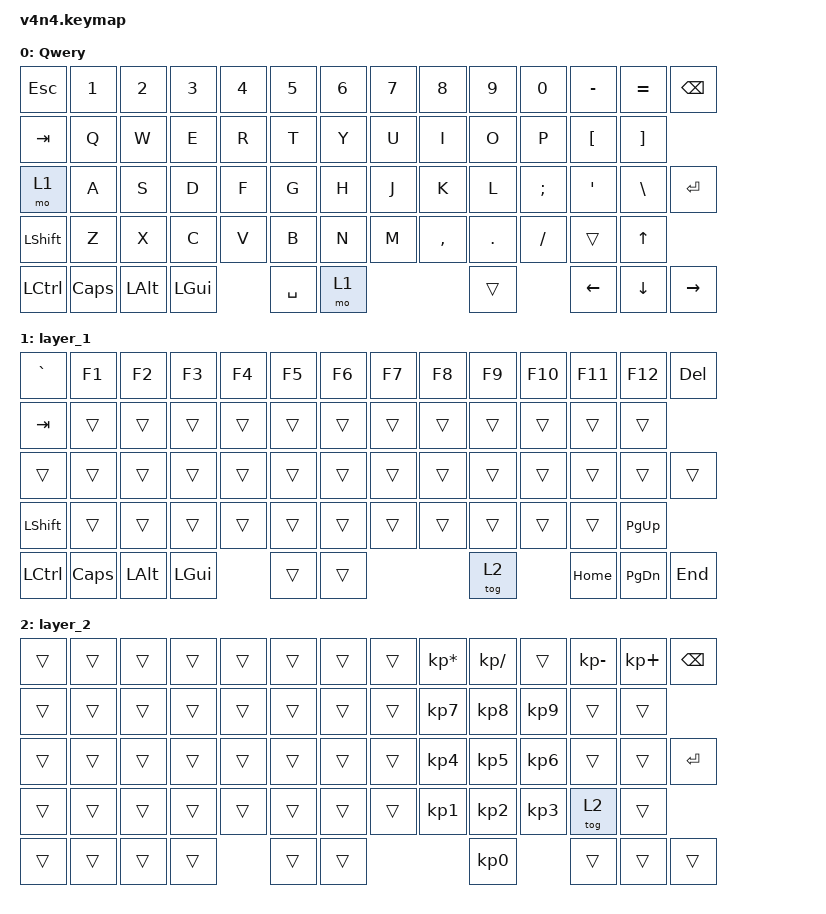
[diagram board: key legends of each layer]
/*
 * Copyright (c) 2021 The ZMK Contributors
 *
 * SPDX-License-Identifier: MIT
 */

#include <behaviors/mouse_keys.dtsi>
#include <behaviors.dtsi>
#include <dt-bindings/zmk/bt.h>
#include <dt-bindings/zmk/ext_power.h>
#include <dt-bindings/zmk/keys.h>
#include <dt-bindings/zmk/rgb.h>

/ {
  /*  behaviors {
        hm: homerow_mods {
            compatible = "zmk,behavior-hold-tap";
            label = "HOMEROW_MODS";
            bindings = <&kp>, <&kp>;

            #binding-cells = <2>;
            tapping-term-ms = <200>;
            quick-tap-ms = <180>;
            flavor = "tap-preferred";
        };

        ltq: ltq {
            compatible = "zmk,behavior-hold-tap";
            label = "LTQ";
            bindings = <&mo>, <&kp>;

            #binding-cells = <2>;
            tapping-term-ms = <200>;
            quick-tap-ms = <180>;
        };

        as: auto_shift {
            compatible = "zmk,behavior-hold-tap";
            label = "AUTO_SHIFT";
            bindings = <&kp>, <&kp>;

            #binding-cells = <2>;
            tapping-term-ms = <135>;
            quick-tap-ms = <0>;
        };
    }; */

    behaviors {
        pwrbtn: pwrbtn {
            compatible = "zmk,behavior-hold-tap";
            #binding-cells = <2>;
            flavor = "hold-preferred";
            tapping-term-ms = <2000>;
            bindings = <&soft_off>, <&trans>;
        };
    };

    combos {
        compatible = "zmk,combos";

        bkt {
            bindings = <&kp LEFT_BRACKET>;
            key-positions = <21 22>;
        };

        rbkt {
            bindings = <&kp RIGHT_BRACKET>;
            key-positions = <22 23>;
        };

        /*  - = */
        minus {
            bindings = <&kp MINUS>;
            key-positions = <30 31>;
        };
        equal {
            bindings = <&kp EQUAL>;
            key-positions = <31 32>;
        };

        semi {
            bindings = <&kp SEMICOLON>;
            key-positions = <34 35>;
        };

        sqt {
            bindings = <&kp SINGLE_QUOTE>;
            key-positions = <35 36>;
        };

        comma {
            bindings = <&kp COMMA>;
            key-positions = <34 47>;
        };
        dot {
            bindings = <&kp PERIOD>;
            key-positions = <34 48>;
        };
        fslh {
            bindings = <&kp SLASH>;
            key-positions = <47 48>;
        };

        blsh {
            bindings = <&kp BSLH>;
            key-positions = <21 23>;
        };
    };

    keymap {
        compatible = "zmk,keymap";

        Qwery {

            bindings = <
&kp ESC       &kp NUMBER_1  &kp NUMBER_2  &kp NUMBER_3  &kp NUMBER_4  &kp NUMBER_5  &kp NUMBER_6  &kp NUMBER_7  &kp NUMBER_8  &kp NUMBER_9  &kp NUMBER_0  &kp MINUS          &kp EQUAL           &kp BACKSPACE
&kp TAB       &kp Q         &kp W         &kp E         &kp R         &kp T         &kp Y         &kp U         &kp I         &kp O         &kp P         &kp LEFT_BRACKET   &kp RIGHT_BRACKET
&mo 1         &kp A         &kp S         &kp D         &kp F         &kp G         &kp H         &kp J         &kp K         &kp L         &kp SEMI      &kp SINGLE_QUOTE   &kp BACKSLASH       &kp ENTER
&kp LSHIFT    &kp Z         &kp X         &kp C         &kp V         &kp B         &kp N         &kp M         &kp COMMA     &kp PERIOD    &kp SLASH     &trans             &kp UP
&kp LCTRL     &kp CAPSLOCK  &kp LALT      &kp LEFT_GUI                &kp SPACE     &mo 1                                     &trans                      &kp LEFT           &kp DOWN            &kp RIGHT
            >;

            label = "Qwery";
        };

        layer_1 {
            bindings = <
&kp GRAVE     &kp F1        &kp F2        &kp F3        &kp F4        &kp F5        &kp F6        &kp F7        &kp F8        &kp F9         &kp F10      &kp F11    &kp F12        &kp DELETE
&kp TAB       &trans        &trans        &trans        &trans        &trans        &trans        &trans        &trans        &trans         &trans       &trans     &trans
&trans        &trans        &trans        &trans        &trans        &trans        &trans        &trans        &trans        &trans         &trans       &trans     &trans         &trans
&kp LSHIFT    &trans        &trans        &trans        &trans        &trans        &trans        &trans        &trans        &trans         &trans       &trans     &kp PAGE_UP
&kp LCTRL     &kp CAPSLOCK  &kp LALT      &kp LEFT_GUI                &trans        &trans                      &tog 2                                    &kp HOME   &kp PAGE_DOWN  &kp END
            >;
        };
/*
&bt BT_SEL 0    &bt BT_SEL 1  &bt BT_SEL 2  &bt BT_SEL 3  &bt BT_SEL 4  &bt BT_CLR
&bt BT_CLR_ALL
*/

        layer_2 {
            bindings = <
&trans    &trans    &trans    &trans    &trans    &trans    &trans    &trans    &kp KP_MULTIPLY      &kp KP_DIVIDE  &trans          &kp KP_MINUS     &kp KP_PLUS   &kp BACKSPACE
&trans    &trans    &trans    &trans    &trans    &trans    &trans    &trans    &kp KP_N7            &kp KP_N8      &kp KP_N9       &trans           &trans
&trans    &trans    &trans    &trans    &trans    &trans    &trans    &trans    &kp KP_N4            &kp KP_N5      &kp KP_N6       &trans           &trans        &kp ENTER
&trans    &trans    &trans    &trans    &trans    &trans    &trans    &trans    &kp KP_N1            &kp KP_N2      &kp KP_N3       &tog 2           &trans
&trans    &trans    &trans    &trans              &trans    &trans              &kp KP_N0                                           &trans           &trans         &trans
            >;
        };
    };
};
